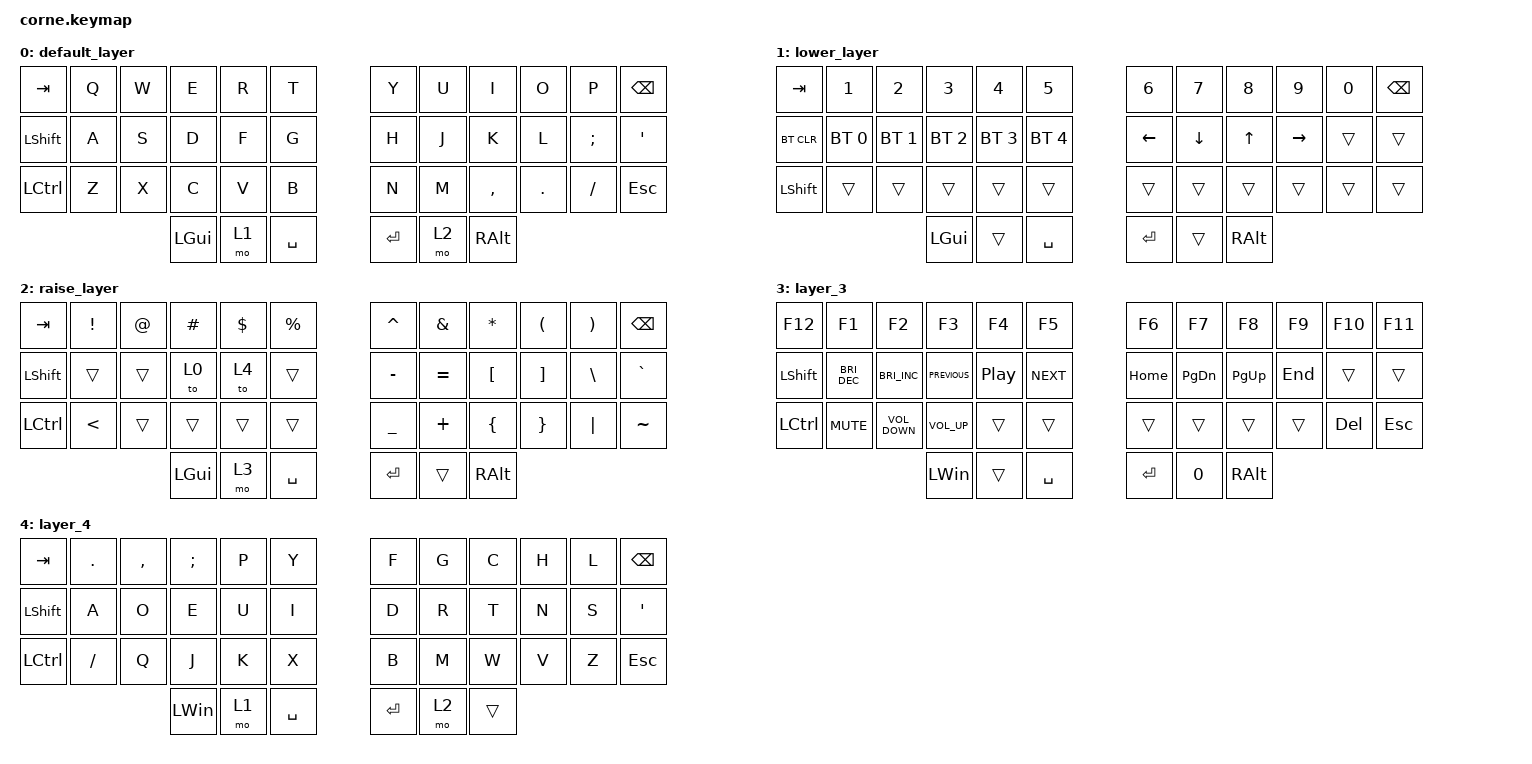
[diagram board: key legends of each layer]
/*
 * Copyright (c) 2020 The ZMK Contributors
 *
 * SPDX-License-Identifier: MIT
 */

#include <behaviors.dtsi>
#include <dt-bindings/zmk/bt.h>
#include <dt-bindings/zmk/keys.h>
#include <dt-bindings/zmk/mouse.h>

/ {
    keymap {
        compatible = "zmk,keymap";

        default_layer {
            // -----------------------------------------------------------------------------------------
            // |  TAB |  Q  |  W  |  E  |  R  |  T  |   |  Y  |  U   |  I  |  O  |  P  | BKSP |
            // | CTRL |  A  |  S  |  D  |  F  |  G  |   |  H  |  J   |  K  |  L  |  ;  |  '   |
            // | SHFT |  Z  |  X  |  C  |  V  |  B  |   |  N  |  M   |  ,  |  .  |  /  | ESC  |
            //                    | GUI | LWR | SPC |   | ENT | RSE  | ALT |

            bindings = <
&kp TAB           &kp Q  &kp W  &kp E     &kp R  &kp T        &kp Y    &kp U  &kp I      &kp O    &kp P     &kp BSPC
&kp LEFT_SHIFT    &kp A  &kp S  &kp D     &kp F  &kp G        &kp H    &kp J  &kp K      &kp L    &kp SEMI  &kp SQT
&kp LEFT_CONTROL  &kp Z  &kp X  &kp C     &kp V  &kp B        &kp N    &kp M  &kp COMMA  &kp DOT  &kp FSLH  &kp ESC
                                &kp LGUI  &mo 1  &kp SPACE    &kp RET  &mo 2  &kp RALT
            >;
        };

        lower_layer {
            // -----------------------------------------------------------------------------------------
            // |  TAB |  1  |  2  |  3  |  4  |  5  |   |  6  |  7  |  8  |  9  |  0  | BKSP |
            // | BTCLR| BT1 | BT2 | BT3 | BT4 | BT5 |   | LFT | DWN |  UP | RGT |     |      |
            // | SHFT |     |     |     |     |     |   |     |     |     |     |     |      |
            //                    | GUI |     | SPC |   | ENT |     | ALT |

            bindings = <
&kp TAB     &kp N1        &kp N2        &kp N3        &kp N4        &kp N5          &kp N6    &kp N7    &kp N8    &kp N9     &kp N0  &kp BSPC
&bt BT_CLR  &bt BT_SEL 0  &bt BT_SEL 1  &bt BT_SEL 2  &bt BT_SEL 3  &bt BT_SEL 4    &kp LEFT  &kp DOWN  &kp UP    &kp RIGHT  &trans  &trans
&kp LSHFT   &trans        &trans        &trans        &trans        &trans          &trans    &trans    &trans    &trans     &trans  &trans
                                        &kp LGUI      &trans        &kp SPACE       &kp RET   &trans    &kp RALT
            >;
        };

        raise_layer {
            // -----------------------------------------------------------------------------------------
            // |  TAB |  !  |  @  |  #  |  $  |  %  |   |  ^  |  &  |  *  |  (  |  )  | BKSP |
            // | CTRL |     |     |     |     |     |   |  -  |  =  |  [  |  ]  |  \  |  `   |
            // | SHFT |     |     |     |     |     |   |  _  |  +  |  {  |  }  | "|" |  ~   |
            //                    | GUI |     | SPC |   | ENT |     | ALT |

            bindings = <
&kp TAB           &kp EXCLAMATION  &kp AT  &kp HASH  &kp DLLR  &kp PRCNT    &kp CARET  &kp AMPS   &kp ASTRK  &kp LPAR  &kp RPAR  &kp BSPC
&kp LSHIFT        &trans           &trans  &to 0     &to 4     &trans       &kp MINUS  &kp EQUAL  &kp LBKT   &kp RBKT  &kp BSLH  &kp GRAVE
&kp LEFT_CONTROL  &kp LESS_THAN    &trans  &trans    &trans    &trans       &kp UNDER  &kp PLUS   &kp LBRC   &kp RBRC  &kp PIPE  &kp TILDE
                                           &kp LGUI  &mo 3     &kp SPACE    &kp RET    &trans     &kp RALT
            >;
        };

        layer_3 {
            bindings = <
&kp F12           &kp F1                &kp F2                &kp F3           &kp F4            &kp F5        &kp F6     &kp F7         &kp F8         &kp F9   &kp F10  &kp F11
&kp LEFT_SHIFT    &kp C_BRIGHTNESS_DEC  &kp C_BRIGHTNESS_INC  &kp C_PREVIOUS   &kp C_PLAY_PAUSE  &kp C_NEXT    &kp HOME   &kp PAGE_DOWN  &kp PAGE_UP    &kp END  &trans   &trans
&kp LEFT_CONTROL  &kp K_MUTE            &kp C_VOLUME_DOWN     &kp C_VOLUME_UP  &trans            &trans        &trans     &trans         &trans         &trans   &kp DEL  &kp ESCAPE
                                                              &kp LEFT_WIN     &trans            &kp SPACE     &kp ENTER  &kp N0         &kp RIGHT_ALT
            >;
        };

        layer_4 {
            bindings = <
&kp TAB           &kp PERIOD  &kp COMMA  &kp SEMICOLON  &kp P  &kp Y        &kp F      &kp G  &kp C   &kp H  &kp L  &kp BACKSPACE
&kp LEFT_SHIFT    &kp A       &kp O      &kp E          &kp U  &kp I        &kp D      &kp R  &kp T   &kp N  &kp S  &kp SQT
&kp LEFT_CONTROL  &kp SLASH   &kp Q      &kp J          &kp K  &kp X        &kp B      &kp M  &kp W   &kp V  &kp Z  &kp ESC
                                         &kp LEFT_WIN   &mo 1  &kp SPACE    &kp ENTER  &mo 2  &trans
            >;
        };
    };
};
